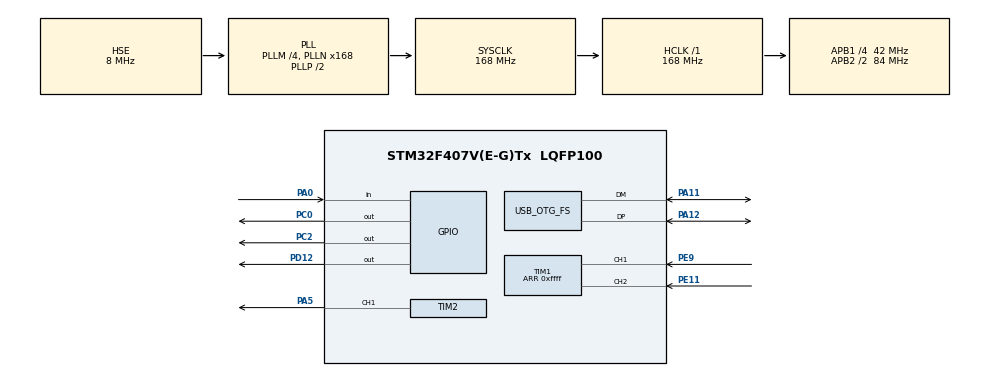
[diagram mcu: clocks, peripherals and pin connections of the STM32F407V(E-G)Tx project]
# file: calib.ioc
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Mcu.Family=STM32F4
Mcu.Name=STM32F407V(E-G)Tx
Mcu.Package=LQFP100
NVIC.OTG_FS_IRQn=true\:0\:0\:false\:false\:true\:false\:true
NVIC.PriorityGroup=NVIC_PRIORITYGROUP_4
NVIC.TIM3_IRQn=true\:1\:0\:true\:false\:true\:true\:true
PA0-WKUP.GPIO_PuPd=GPIO_PULLDOWN
PA0-WKUP.Signal=GPIO_Input
PA11.Mode=Device_Only
PA11.Signal=USB_OTG_FS_DM
PA12.Mode=Device_Only
PA12.Signal=USB_OTG_FS_DP
PA5.Signal=S_TIM2_CH1_ETR
PC0.Signal=GPIO_Output
PC2.Signal=GPIO_Output
PD12.Signal=GPIO_Output
PE11.GPIO_PuPd=GPIO_PULLUP
PE11.Signal=S_TIM1_CH2
PE9.GPIO_PuPd=GPIO_PULLUP
PE9.Signal=S_TIM1_CH1
PH0-OSC_IN.Mode=HSE-External-Oscillator
PH0-OSC_IN.Signal=RCC_OSC_IN
PH1-OSC_OUT.Mode=HSE-External-Oscillator
PH1-OSC_OUT.Signal=RCC_OSC_OUT
ProjectManager.HeapSize=0x200
ProjectManager.StackSize=0x400
ProjectManager.TargetToolchain=MDK-ARM V5
RCC.48MHZClocksFreq_Value=48000000
RCC.AHBFreq_Value=168000000
RCC.APB1CLKDivider=RCC_HCLK_DIV4
RCC.APB1Freq_Value=42000000
RCC.APB1TimFreq_Value=84000000
RCC.APB2CLKDivider=RCC_HCLK_DIV2
RCC.APB2Freq_Value=84000000
RCC.APB2TimFreq_Value=168000000
RCC.CortexFreq_Value=168000000
RCC.HCLKFreq_Value=168000000
RCC.HSE_VALUE=8000000
RCC.HSI_VALUE=16000000
RCC.LSE_VALUE=32768
RCC.PLLM=4
RCC.PLLN=168
RCC.PLLQ=7
RCC.SYSCLKFreq_VALUE=168000000
RCC.SYSCLKSource=RCC_SYSCLKSOURCE_PLLCLK
RCC.VCOOutputFreq_Value=336000000
SH.S_TIM1_CH1.0=TIM1_CH1,Encoder_Interface
SH.S_TIM1_CH2.0=TIM1_CH2,Encoder_Interface
SH.S_TIM2_CH1_ETR.0=TIM2_CH1,PWM Generation1 CH1
TIM1.EncoderMode=TIM_ENCODERMODE_TI12
TIM1.Period=0xffff
TIM2.Channel-PWM\ Generation1\ CH1=TIM_CHANNEL_1
TIM2.Period=1023
TIM2.Prescaler=21
TIM3.Prescaler=83
TIM3.TIM_MasterOutputTrigger=TIM_TRGO_UPDATE
USB_DEVICE.CLASS_NAME_FS=CDC
USB_DEVICE.VirtualMode-CDC_FS=Cdc
USB_DEVICE.VirtualModeFS=Cdc_FS
USB_OTG_FS.VirtualMode=Device_Only
VP_TIM2_VS_ClockSourceINT.Mode=Internal
VP_TIM3_VS_ClockSourceINT.Mode=Internal
VP_USB_DEVICE_VS_USB_DEVICE_CDC_FS.Mode=CDC_FS
board=custom

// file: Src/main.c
/* USER CODE BEGIN Header */
/**
  ******************************************************************************
  * @file           : main.c
  * @brief          : Main program body
  ******************************************************************************
  * @attention
  *
  * <h2><center>&copy; Copyright (c) 2020 STMicroelectronics.
  * All rights reserved.</center></h2>
  *
  * This software component is licensed by ST under BSD 3-Clause license,
  * the "License"; You may not use this file except in compliance with the
  * License. You may obtain a copy of the License at:
  *                        opensource.org/licenses/BSD-3-Clause
  *
  ******************************************************************************
  */
/* USER CODE END Header */

#include "main.h"
#include "usb_device.h"

/* USER CODE BEGIN Includes */
#include "usbd_cdc_if.h"
#include "Math.h"
/* USER CODE END Includes */

/* USER CODE BEGIN PTD */
#define pi 3.14159265359f
#define T 0.02f
#define in1 2.3f
#define in2 4.6f
#define in3 6.23f
#define in4 15.0f
#define in5 22.0f

//float pid1[3] = {2.2f, 5.1f, 2.75f};
//float pid2[3] = {1.35f, 4.1f, 3.28f};
//float pid3[3] = {0.7f, 3.5f, 3.59f};
//float pid4[3] = {0.57f, 3.5f, 6.1f};
//float pid5[3] = {0.47f, 3.4f, 9.1f};

float pid1[4] = {2.2f, 5.1f, 2.0f, 2.7f};
float pid2[4] = {1.35f, 4.1f, 2.8f, 2.6f};
float pid3[4] = {0.7f, 3.5f, 3.2f, 2.5f};
float pid4[4] = {0.57f, 3.5f, 5.2f, 2.3f};
float pid5[4] = {0.47f, 3.4f, 7.7f, 2.1f};
/* USER CODE END PTD */

TIM_HandleTypeDef htim1;
TIM_HandleTypeDef htim2;
TIM_HandleTypeDef htim3;

void SystemClock_Config(void);
static void MX_GPIO_Init(void);
static void MX_TIM1_Init(void);
static void MX_TIM2_Init(void);
static void MX_TIM3_Init(void);
/* USER CODE BEGIN PFP */
void fuzzy(float set_point, float *Kp, float *Ki, float *Kd);
void fuzzy_setpos(float set_point, float *Kp);
/* USER CODE END PFP */

/* USER CODE BEGIN 0 */
struct package{
	uint8_t header[4];
	float data;
}data_receive;
struct send_package{
	float data;
	float set;
	float voltage;
	float kp;
	float ki;
	float kd;
}data_sp, data_po;
struct Tune{
	float kp;
	float ki;
	float kd;
	//float th;
}tune;
uint16_t pulse, pulse_k1;
int16_t count_pulse, last_pulse, current_pulse;
float speed, set_speed, set_speed_k1, set_speed_k2, kp, ki, kd, u, u_k1, e, e_k1, e_k2, Kpv = 2.3f, Kdv = 0.0005f;
float ev, ev_k1, ev_k2, ev_k3, uv;
float set_pos, pos;
float voltage, th;
uint16_t pwm_out;
uint8_t check = 0;
uint8_t first_start = 0;
uint8_t selection = 0;
uint8_t point;
uint8_t length_check;
uint8_t para_data[30];
uint8_t sp_header[4] = {2, 22, 's', 'p'};
uint8_t po_header[4] = {2, 22, 's', 'p'};
uint8_t ack_header[4] = {2, 22, 6, 6};
uint8_t end_package[2] = {22, 3};
uint8_t send[8];
union real{
	float real;
	uint8_t byte[4];
}convert;
/* USER CODE END 0 */

int main(void)
{
  /* USER CODE BEGIN 1 */
  memcpy(&para_data[28], end_package, 2);
  /* USER CODE END 1 */

  /* MCU Configuration--------------------------------------------------------*/

  /* Reset of all peripherals, Initializes the Flash interface and the Systick. */
  HAL_Init();

  /* Configure the system clock */
  SystemClock_Config();

  /* Initialize all configured peripherals */
  MX_GPIO_Init();
  MX_TIM1_Init();
  MX_TIM2_Init();
  MX_TIM3_Init();
  MX_USB_DEVICE_Init();
  /* USER CODE BEGIN 2 */
	TIM3->ARR = 19999;
	//HAL_TIM_Base_Start_IT(&htim3);
  HAL_TIM_Encoder_Start(&htim1, TIM_CHANNEL_1 | TIM_CHANNEL_2);
	HAL_TIM_PWM_Start(&htim2, TIM_CHANNEL_1);
	HAL_GPIO_WritePin(GPIOC, GPIO_PIN_0, GPIO_PIN_SET);
	HAL_GPIO_WritePin(GPIOC, GPIO_PIN_2, GPIO_PIN_RESET);
  TIM1->SR = 0;
  /* USER CODE END 2 */

  /* Infinite loop */
  while (1)
  {
  }
}

void SystemClock_Config(void)
{
  RCC_OscInitTypeDef RCC_OscInitStruct = {0};
  RCC_ClkInitTypeDef RCC_ClkInitStruct = {0};

  /** Configure the main internal regulator output voltage
  */
  __HAL_RCC_PWR_CLK_ENABLE();
  __HAL_PWR_VOLTAGESCALING_CONFIG(PWR_REGULATOR_VOLTAGE_SCALE1);
  /** Initializes the CPU, AHB and APB busses clocks
  */
  RCC_OscInitStruct.OscillatorType = RCC_OSCILLATORTYPE_HSE;
  RCC_OscInitStruct.HSEState = RCC_HSE_ON;
  RCC_OscInitStruct.PLL.PLLState = RCC_PLL_ON;
  RCC_OscInitStruct.PLL.PLLSource = RCC_PLLSOURCE_HSE;
  RCC_OscInitStruct.PLL.PLLM = 4;
  RCC_OscInitStruct.PLL.PLLN = 168;
  RCC_OscInitStruct.PLL.PLLP = RCC_PLLP_DIV2;
  RCC_OscInitStruct.PLL.PLLQ = 7;
  if (HAL_RCC_OscConfig(&RCC_OscInitStruct) != HAL_OK)
  {
    Error_Handler();
  }
  /** Initializes the CPU, AHB and APB busses clocks
  */
  RCC_ClkInitStruct.ClockType = RCC_CLOCKTYPE_HCLK|RCC_CLOCKTYPE_SYSCLK
                              |RCC_CLOCKTYPE_PCLK1|RCC_CLOCKTYPE_PCLK2;
  RCC_ClkInitStruct.SYSCLKSource = RCC_SYSCLKSOURCE_PLLCLK;
  RCC_ClkInitStruct.AHBCLKDivider = RCC_SYSCLK_DIV1;
  RCC_ClkInitStruct.APB1CLKDivider = RCC_HCLK_DIV4;
  RCC_ClkInitStruct.APB2CLKDivider = RCC_HCLK_DIV2;

  if (HAL_RCC_ClockConfig(&RCC_ClkInitStruct, FLASH_LATENCY_5) != HAL_OK)
  {
    Error_Handler();
  }
}

static void MX_TIM1_Init(void)
{

  TIM_Encoder_InitTypeDef sConfig = {0};
  TIM_MasterConfigTypeDef sMasterConfig = {0};

  htim1.Instance = TIM1;
  htim1.Init.Prescaler = 0;
  htim1.Init.CounterMode = TIM_COUNTERMODE_UP;
  htim1.Init.Period = 0xffff;
  htim1.Init.ClockDivision = TIM_CLOCKDIVISION_DIV1;
  htim1.Init.RepetitionCounter = 0;
  htim1.Init.AutoReloadPreload = TIM_AUTORELOAD_PRELOAD_DISABLE;
  sConfig.EncoderMode = TIM_ENCODERMODE_TI12;
  sConfig.IC1Polarity = TIM_ICPOLARITY_RISING;
  sConfig.IC1Selection = TIM_ICSELECTION_DIRECTTI;
  sConfig.IC1Prescaler = TIM_ICPSC_DIV1;
  sConfig.IC1Filter = 0;
  sConfig.IC2Polarity = TIM_ICPOLARITY_RISING;
  sConfig.IC2Selection = TIM_ICSELECTION_DIRECTTI;
  sConfig.IC2Prescaler = TIM_ICPSC_DIV1;
  sConfig.IC2Filter = 0;
  if (HAL_TIM_Encoder_Init(&htim1, &sConfig) != HAL_OK)
  {
    Error_Handler();
  }
  sMasterConfig.MasterOutputTrigger = TIM_TRGO_RESET;
  sMasterConfig.MasterSlaveMode = TIM_MASTERSLAVEMODE_DISABLE;
  if (HAL_TIMEx_MasterConfigSynchronization(&htim1, &sMasterConfig) != HAL_OK)
  {
    Error_Handler();
  }

}

static void MX_TIM2_Init(void)
{

  TIM_ClockConfigTypeDef sClockSourceConfig = {0};
  TIM_MasterConfigTypeDef sMasterConfig = {0};
  TIM_OC_InitTypeDef sConfigOC = {0};

  htim2.Instance = TIM2;
  htim2.Init.Prescaler = 21;
  htim2.Init.CounterMode = TIM_COUNTERMODE_UP;
  htim2.Init.Period = 1023;
  htim2.Init.ClockDivision = TIM_CLOCKDIVISION_DIV1;
  htim2.Init.AutoReloadPreload = TIM_AUTORELOAD_PRELOAD_DISABLE;
  if (HAL_TIM_Base_Init(&htim2) != HAL_OK)
  {
    Error_Handler();
  }
  sClockSourceConfig.ClockSource = TIM_CLOCKSOURCE_INTERNAL;
  if (HAL_TIM_ConfigClockSource(&htim2, &sClockSourceConfig) != HAL_OK)
  {
    Error_Handler();
  }
  if (HAL_TIM_PWM_Init(&htim2) != HAL_OK)
  {
    Error_Handler();
  }
  sMasterConfig.MasterOutputTrigger = TIM_TRGO_RESET;
  sMasterConfig.MasterSlaveMode = TIM_MASTERSLAVEMODE_DISABLE;
  if (HAL_TIMEx_MasterConfigSynchronization(&htim2, &sMasterConfig) != HAL_OK)
  {
    Error_Handler();
  }
  sConfigOC.OCMode = TIM_OCMODE_PWM1;
  sConfigOC.Pulse = 0;
  sConfigOC.OCPolarity = TIM_OCPOLARITY_HIGH;
  sConfigOC.OCFastMode = TIM_OCFAST_DISABLE;
  if (HAL_TIM_PWM_ConfigChannel(&htim2, &sConfigOC, TIM_CHANNEL_1) != HAL_OK)
  {
    Error_Handler();
  }
  HAL_TIM_MspPostInit(&htim2);

}

static void MX_TIM3_Init(void)
{

  TIM_ClockConfigTypeDef sClockSourceConfig = {0};
  TIM_MasterConfigTypeDef sMasterConfig = {0};

  htim3.Instance = TIM3;
  htim3.Init.Prescaler = 83;
  htim3.Init.CounterMode = TIM_COUNTERMODE_UP;
  htim3.Init.Period = 0;
  htim3.Init.ClockDivision = TIM_CLOCKDIVISION_DIV1;
  htim3.Init.AutoReloadPreload = TIM_AUTORELOAD_PRELOAD_DISABLE;
  if (HAL_TIM_Base_Init(&htim3) != HAL_OK)
  {
    Error_Handler();
  }
  sClockSourceConfig.ClockSource = TIM_CLOCKSOURCE_INTERNAL;
  if (HAL_TIM_ConfigClockSource(&htim3, &sClockSourceConfig) != HAL_OK)
  {
    Error_Handler();
  }
  sMasterConfig.MasterOutputTrigger = TIM_TRGO_UPDATE;
  sMasterConfig.MasterSlaveMode = TIM_MASTERSLAVEMODE_DISABLE;
  if (HAL_TIMEx_MasterConfigSynchronization(&htim3, &sMasterConfig) != HAL_OK)
  {
    Error_Handler();
  }

}

static void MX_GPIO_Init(void)
{
  GPIO_InitTypeDef GPIO_InitStruct = {0};

  /* GPIO Ports Clock Enable */
  __HAL_RCC_GPIOH_CLK_ENABLE();
  __HAL_RCC_GPIOC_CLK_ENABLE();
  __HAL_RCC_GPIOA_CLK_ENABLE();
  __HAL_RCC_GPIOE_CLK_ENABLE();
  __HAL_RCC_GPIOD_CLK_ENABLE();

  /*Configure GPIO pin Output Level */
  HAL_GPIO_WritePin(GPIOC, GPIO_PIN_0|GPIO_PIN_2, GPIO_PIN_RESET);

  /*Configure GPIO pin Output Level */
  HAL_GPIO_WritePin(GPIOD, GPIO_PIN_12, GPIO_PIN_RESET);

  /*Configure GPIO pins : PC0 PC2 */
  GPIO_InitStruct.Pin = GPIO_PIN_0|GPIO_PIN_2;
  GPIO_InitStruct.Mode = GPIO_MODE_OUTPUT_PP;
  GPIO_InitStruct.Pull = GPIO_NOPULL;
  GPIO_InitStruct.Speed = GPIO_SPEED_FREQ_LOW;
  HAL_GPIO_Init(GPIOC, &GPIO_InitStruct);

  /*Configure GPIO pin : PA0 */
  GPIO_InitStruct.Pin = GPIO_PIN_0;
  GPIO_InitStruct.Mode = GPIO_MODE_INPUT;
  GPIO_InitStruct.Pull = GPIO_PULLDOWN;
  HAL_GPIO_Init(GPIOA, &GPIO_InitStruct);

  /*Configure GPIO pin : PD12 */
  GPIO_InitStruct.Pin = GPIO_PIN_12;
  GPIO_InitStruct.Mode = GPIO_MODE_OUTPUT_PP;
  GPIO_InitStruct.Pull = GPIO_NOPULL;
  GPIO_InitStruct.Speed = GPIO_SPEED_FREQ_LOW;
  HAL_GPIO_Init(GPIOD, &GPIO_InitStruct);

}

/* USER CODE BEGIN 4 */
void fuzzy(float set_point, float *Kp, float *Ki, float *Kd)
{
	float a1, a2;
  if (set_point >= 0 && set_point < in1) {
    *Kp = pid1[0]*set_point/in1 ;*Ki = pid1[1]*set_point/in1; *Kd = pid1[2]*set_point/in1 ;
	}else if(set_point >= in1 && set_point < in2){
		a1 = (in2 - set_point) / (in2 - in1);
		a2 = (set_point - in1) / (in2 - in1);
		*Kp = (pid1[0]*a1 + pid2[0]*a2) / (a1 + a2);
		*Ki = (pid1[1]*a1 + pid2[1]*a2) / (a1 + a2);
		*Kd = (pid1[2]*a1 + pid2[2]*a2) / (a1 + a2);
	}else if(set_point >= in2 && set_point < in3){
		a1 = (in3 - set_point) / (in3 - in2);
		a2 = (set_point - in2) / (in3 - in2);
		*Kp = (pid2[0]*a1 + pid3[0]*a2) / (a1 + a2);
		*Ki = (pid2[1]*a1 + pid3[1]*a2) / (a1 + a2);
		*Kd = (pid2[2]*a1 + pid3[2]*a2) / (a1 + a2);
	}else if(set_point >= in3 && set_point < in4){
		a1 = (in4 - set_point) / (in4 - in3);
		a2 = (set_point - in3) / (in4 - in3);
		*Kp = (pid3[0]*a1 + pid4[0]*a2) / (a1 + a2);
		*Ki = (pid3[1]*a1 + pid4[1]*a2) / (a1 + a2);
		*Kd = (pid3[2]*a1 + pid4[2]*a2) / (a1 + a2);
	}else if(set_point >= in4 && set_point < in5){
		a1 = (in5 - set_point) / (in5 - in4);
		a2 = (set_point - in4) / (in5 - in4);
		*Kp = (pid4[0]*a1 + pid5[0]*a2) / (a1 + a2);
		*Ki = (pid4[1]*a1 + pid5[1]*a2) / (a1 + a2);
		*Kd = (pid4[2]*a1 + pid5[2]*a2) / (a1 + a2);
	}else if(set_point >= in5){
		*Kp = pid5[0];*Ki = pid5[1];*Kd = pid5[2];
	}
}
void fuzzy_setpos(float set_point, float *Kp)
{
	float a1, a2;
  if (set_point >= 0 && set_point < in1) {
    *Kp = pid1[3];
	}else if(set_point >= in1 && set_point < in2){
		a1 = (in2 - set_point) / (in2 - in1);
		a2 = (set_point - in1) / (in2 - in1);
		*Kp = (pid1[3]*a1 + pid2[3]*a2) / (a1 + a2);
	}else if(set_point >= in2 && set_point < in3){
		a1 = (in3 - set_point) / (in3 - in2);
		a2 = (set_point - in2) / (in3 - in2);
		*Kp = (pid2[2]*a1 + pid3[3]*a2) / (a1 + a2);
	}else if(set_point >= in3 && set_point < in4){
		a1 = (in4 - set_point) / (in4 - in3);
		a2 = (set_point - in3) / (in4 - in3);
		*Kp = (pid3[2]*a1 + pid4[3]*a2) / (a1 + a2);
	}else if(set_point >= in4 && set_point < in5){
		a1 = (in5 - set_point) / (in5 - in4);
		a2 = (set_point - in4) / (in5 - in4);
		*Kp = (pid4[3]*a1 + pid5[3]*a2) / (a1 + a2);
	}else if(set_point >= in5){
		*Kp = pid5[3];
	}
}
void CDC_ReceiveCallback(uint8_t *buf, uint32_t len)
{

	if(buf[0] == 45 && buf[1] == 46 && buf[2] == 47 && buf[3] == 48) {
		if(first_start == 0) {
			first_start = 1;
			TIM3->CNT = 0;
		  HAL_TIM_Base_Start_IT(&htim3);
		  HAL_TIM_Encoder_Start(&htim1, TIM_CHANNEL_1 | TIM_CHANNEL_2);
			memcpy(para_data, sp_header, 4);
		}
	  memcpy(&data_receive, buf, len);
	  set_speed = data_receive.data;
		selection = 0;
	}else if(buf[0] == 54 && buf[1] == 64 && buf[2] == 74 && buf[3] == 84) {
		if(first_start == 0) {
			first_start = 1;
			TIM3->CNT = 0;
		  HAL_TIM_Base_Start_IT(&htim3);
		  HAL_TIM_Encoder_Start(&htim1, TIM_CHANNEL_1 | TIM_CHANNEL_2);
      memcpy(para_data, po_header, 4);
		}
	  memcpy(&data_receive, buf, len);
	  set_pos = data_receive.data;
		ev_k3 = set_pos - pos; ev_k2 = ev_k3;
		selection = 1;
	}else if(buf[0] == 115 && buf[1] == 116 && buf[2] == 111 && buf[3] == 112) {
		TIM2->CCR1 = 0;
		HAL_TIM_Base_Stop_IT(&htim3);
		HAL_TIM_Encoder_Stop(&htim1, TIM_CHANNEL_1 | TIM_CHANNEL_2);
		u_k1 = 0; u = 0; e = 0; e_k1 = 0; e_k2 = 0; pulse_k1 = 0;	ev_k1 = 0; ev = 0; last_pulse = 0, current_pulse = 0, pos = 0;
		TIM1->CNT = 0;
		TIM1->SR = 0;
		first_start = 0;
		memcpy(send, ack_header, 4);
		send[4] = 24; send[5] = 27;
		memcpy(&send[6], end_package, 2);
		CDC_Transmit_FS(send, 8);
	}else if(buf[0] == 69) {
    memcpy(&tune, &buf[1], 12);
		//Kpv = convert.real;
	}else if(buf[0] == 115 && buf[1] == 112 && buf[2] == 114 && buf[3] == 117) {
		memcpy(send, ack_header, 4);
		send[4] = 's'; send[5] = 'p';
		memcpy(&send[6], end_package, 2);
		CDC_Transmit_FS(send, 8);
	}else if(buf[0] == 112 && buf[1] == 111 && buf[2] == 114 && buf[3] == 117) {
		memcpy(send, ack_header, 4);
		send[4] = 'p'; send[5] = 'o';
		memcpy(&send[6], end_package, 2);
		CDC_Transmit_FS(send, 8);
	}

	//memcpy(&curve, buf, len);
	//point += len;
	//length_check++;
}
void HAL_TIM_PeriodElapsedCallback(TIM_HandleTypeDef *htim)
{
  if(htim->Instance == TIM3) {
		//Kpv = 2.3;
		//Kpv = tune.kp;
		//Kdv = tune.kd;

		//ki = tune.ki;
		//kd = tune.kd;

		if(selection == 1) {

			pulse = TIM1->CNT;
			count_pulse = (int16_t)pulse;

		  check = (uint8_t)(TIM1->SR &TIM_SR_UIF);
		  if (check == 0) {
			  speed = (pulse - pulse_k1) / T / 1496.0f*2*pi;
		  }else{
			TIM1->SR = 0;
			if((int16_t)(pulse) >= 0)
				speed = (pulse - (int16_t)(pulse_k1)) / T / 1496.0f*2*pi;
			else
				speed = ((int16_t)(pulse) - pulse_k1) / T / 1496.0f*2*pi;
		  }

      current_pulse += (count_pulse - last_pulse);
      last_pulse = count_pulse;
      pos = (float)(current_pulse / 1496.0f * 2*pi);
			ev = set_pos - pos;
			ev = (fabsf(ev) < 0.2f)?0.0f:ev;
			fuzzy_setpos(fabsf(set_pos), &Kpv);
			uv = Kpv*ev + (Kdv/T)*(ev - ev_k1);
			set_speed = uv;
			e = set_speed - speed;
			fuzzy(fabsf(set_speed), &kp, &ki, &th);
			u = u_k1 + kp *(e - e_k1) + (ki*T/2.0f)*(e + e_k1) + (kd/T)*(e - 2*e_k1 + e_k2);

			if(set_speed > 0) {
			  voltage = (u >= 11.83f)?11.83f:u;
		    voltage = (voltage < -th)?-th:voltage;
			  voltage = (voltage <= th && voltage>=0.0f)?th+voltage:voltage;
		  }else{
			  voltage = (u < -11.83f)?-11.83f:u;
			  voltage = (voltage > th)?th:voltage;
			  voltage = (voltage >= -th && voltage<=0.0f)?-th+voltage:voltage;
		  }
			//******************************************************
	  }else if(selection == 0) {

			fuzzy(fabsf(set_speed), &kp, &ki, &th);
			pulse = TIM1->CNT;
		  check = (uint8_t)(TIM1->SR &TIM_SR_UIF);
		  if (check == 0) {
			  speed = (pulse - pulse_k1) / T / 1496.0f*2*pi;
		  }else{
			TIM1->SR = 0;
			if((int16_t)(pulse) >= 0)
				speed = (pulse - (int16_t)(pulse_k1)) / T / 1496.0f*2*pi;
			else
				speed = ((int16_t)(pulse) - pulse_k1) / T / 1496.0f*2*pi;
		  }

		  e = set_speed - speed;
			u = u_k1 + kp *(e - e_k1) + (ki*T/2.0f)*(e + e_k1) + (kd/T)*(e - 2*e_k1 + e_k2);
		  if(set_speed > 0) {
			  voltage = (u >= 11.83f)?11.83f:u;
		    voltage = (voltage < -th)?-th:voltage;
			  voltage = (voltage <= th && voltage>=0.0f)?th+voltage:voltage;
		  }else{
			  voltage = (u < -11.83f)?-11.83f:u;
			  voltage = (voltage > th)?th:voltage;
			  voltage = (voltage >= -th && voltage<=0.0f)?-th+voltage:voltage;
		  }
		}

		//voltage = (u >= -th && u < 0.0f)?-th:u;
		//set_speed_k2 = (set_speed != set_speed_k1)?set_speed_k1:set_speed_k2;
		/*if(set_speed_k2 <= 0.01f && set_speed_k2 >= -0.01f){

		  voltage = (u >= -th && u < 0.0f)?-th+2.0f:u;
		}*/
		if(voltage > 0) {
			HAL_GPIO_WritePin(GPIOC, GPIO_PIN_0, GPIO_PIN_SET);
	    HAL_GPIO_WritePin(GPIOC, GPIO_PIN_2, GPIO_PIN_RESET);
		}else{
			HAL_GPIO_WritePin(GPIOC, GPIO_PIN_0, GPIO_PIN_RESET);
	    HAL_GPIO_WritePin(GPIOC, GPIO_PIN_2, GPIO_PIN_SET);
		}
		pwm_out = (uint16_t)(fabsf(voltage) / 11.83f * 1023.0f);
		TIM2->CCR1 = pwm_out;

	 if(selection == 1) {
			data_sp.data = pos;
		  data_sp.set = set_pos;
		}else if(selection == 0){
			data_sp.data = speed;
		  data_sp.set = set_speed;
		}
		data_sp.voltage = voltage;
		data_sp.kp = kp;
		data_sp.ki = ki;
		data_sp.kd = th;
		memcpy(&para_data[4], &data_sp, 24);
		CDC_Transmit_FS(para_data, 30);

		//ev_k3 = ev_k2;
		//ev_k2 = ev_k1;
    ev_k1 = ev;
		u_k1 = u;
		e_k2 = e_k1;
		e_k1 = e;
		pulse_k1 = pulse;
		set_speed_k1 = set_speed;

	}

}

/* USER CODE END 4 */

void Error_Handler(void)
{
}

/************************ (C) COPYRIGHT STMicroelectronics *****END OF FILE****/
